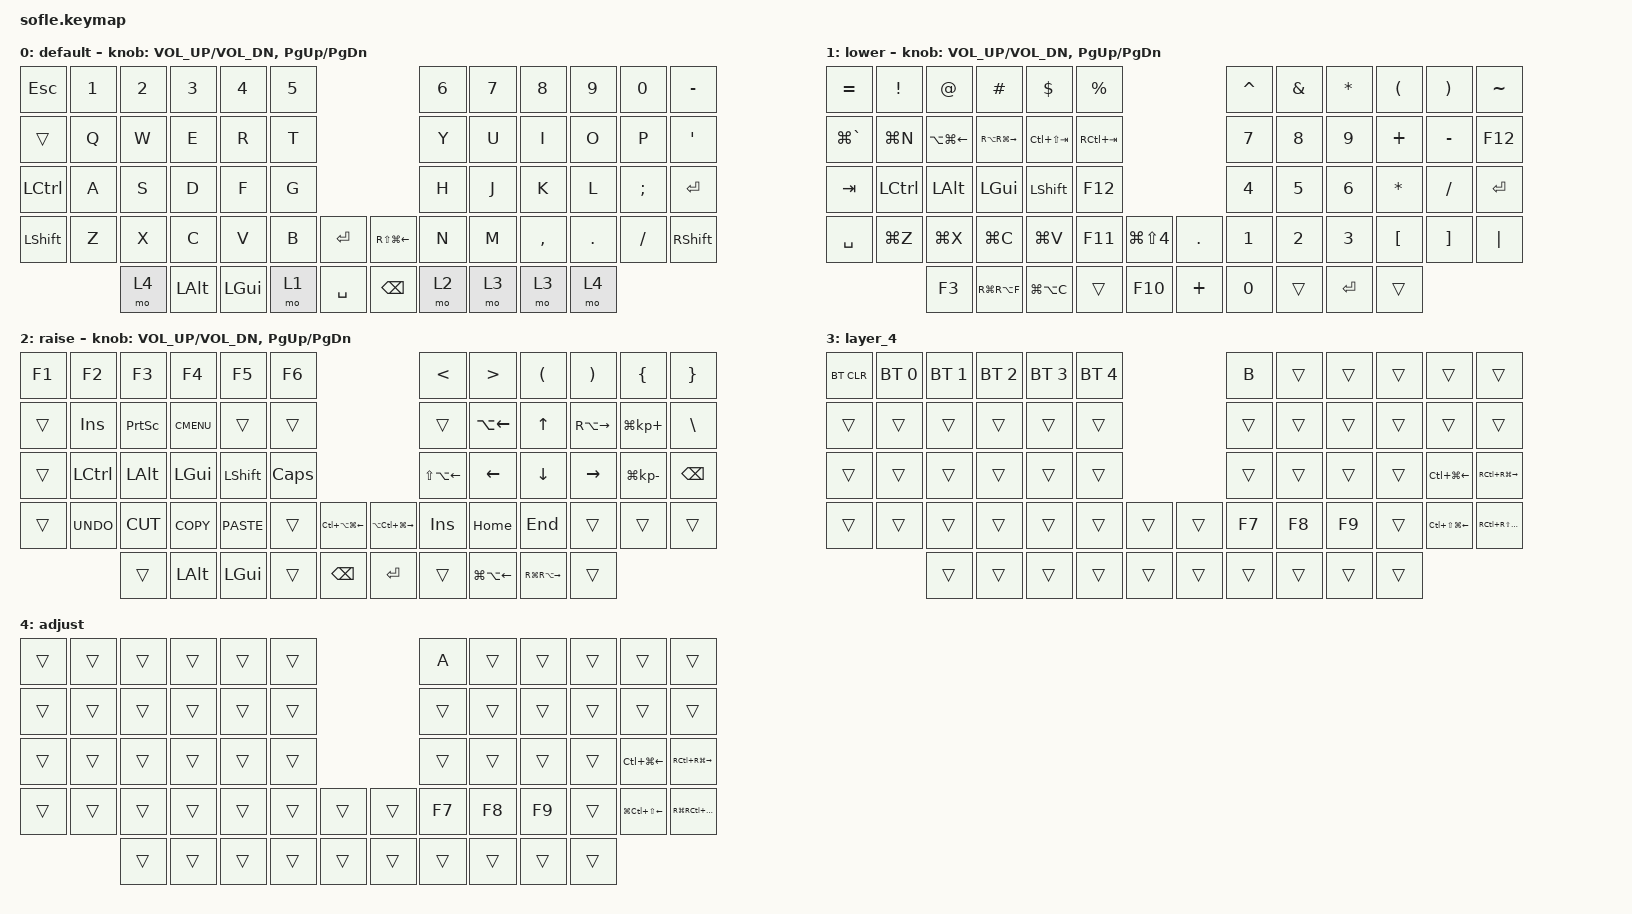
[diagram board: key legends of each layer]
/*
 * Copyright (c) 2020 The ZMK Contributors
 *
 * SPDX-License-Identifier: MIT
 */

#include <behaviors.dtsi>
#include <dt-bindings/zmk/bt.h>
#include <dt-bindings/zmk/keys.h>

#define BASE 0
#define LOWER 1
#define RAISE 2
#define ADJUST 3

/ {
    // Activate ADJUST layer by pressing raise and lower

    conditional_layers { compatible = "zmk,conditional-layers"; };

    combos {
        compatible = "zmk,combos";

        AltDelete {
            bindings = <&kp LA(BACKSPACE)>;
            key-positions = <31 32>;
        };

        tripleDelete {
            bindings = <&kp LG(BACKSPACE)>;
            key-positions = <31 32 33>;
        };

        webpageUndo {
            bindings = <&kp LS(LG(T))>;
            key-positions = <28 25>;
        };

        backspace-combo {
            bindings = <&kp BACKSPACE>;
            key-positions = <33 34>;
        };
    };

    keymap {
        compatible = "zmk,keymap";

        default_layer {
            display-name = "default";

            // ------------------------------------------------------------------------------------------------------------
            // |   `   |  1  |  2  |  3   |  4   |  5   |                   |  6   |  7    |  8    |  9   |   0   |       |
            // |  ESC  |  Q  |  W  |  E   |  R   |  T   |                   |  Y   |  U    |  I    |  O   |   P   | BKSPC |
            // |  TAB  |  A  |  S  |  D   |  F   |  G   |                   |  H   |  J    |  K    |  L   |   ;   |   '   |
            // | SHIFT |  Z  |  X  |  C   |  V   |  B   |  MUTE  |  |       |  N   |  M    |  ,    |  .   |   /   | SHIFT |
            //               | GUI | ALT  | CTRL | LOWER|  ENTER |  | SPACE | RAISE| CTRL  | ALT   | GUI  |

            bindings = <
&kp ESCAPE  &kp N1  &kp N2  &kp N3    &kp N4        &kp N5                                 &kp N6  &kp N7  &kp N8     &kp N9   &kp N0    &kp MINUS
&trans      &kp Q   &kp W   &kp E     &kp R         &kp T                                  &kp Y   &kp U   &kp I      &kp O    &kp P     &kp SQT
&kp LCTRL   &kp A   &kp S   &kp D     &kp F         &kp G                                  &kp H   &kp J   &kp K      &kp L    &kp SEMI  &kp ENTER
&kp LSHFT   &kp Z   &kp X   &kp C     &kp V         &kp B   &kp ENTER    &kp RS(LG(LEFT))  &kp N   &kp M   &kp COMMA  &kp DOT  &kp FSLH  &kp RSHFT
                    &mo 4   &kp LALT  &kp LEFT_GUI  &mo 1   &kp SPACE    &kp BACKSPACE     &mo 2   &mo 3   &mo 3      &mo 4
            >;

            sensor-bindings = <&inc_dec_kp C_VOL_UP C_VOL_DN &inc_dec_kp PG_UP PG_DN>;
        };

        lower_layer {
            display-name = "lower";

            // TODO: Some binds are waiting for shifted keycode support.
            // ------------------------------------------------------------------------------------------------------------
            // |       |  F1 |  F2 |  F3  |  F4  |  F5  |                   |  F6  |  F7   |  F8   |  F9  |  F10  |  F11  |
            // |   `   |  1  |  2  |  3   |  4   |  5   |                   |  6   |  7    |  8    |  9   |   0   |  F12  |
            // |       |  !  |  @  |  #   |  $   |  %   |                   |  ^   |  &    |  *    |  (   |   )   |   |   |
            // |       |  =  |  -  |  +   |  {   |  }   |        |  |       |  [   |  ]    |  ;    |  :   |   \   |       |
            //               |     |      |      |      |        |  |       |      |       |       |      |

            bindings = <
&kp EQUAL      &kp EXCL   &kp AT_SIGN       &kp HASH           &kp DOLLAR       &kp PERCENT                                    &kp CARET     &kp AMPS      &kp STAR      &kp LEFT_PARENTHESIS  &kp RIGHT_PARENTHESIS  &kp TILDE
&kp LG(GRAVE)  &kp LG(N)  &kp LA(LG(LEFT))  &kp RA(RG(RIGHT))  &kp LC(LS(TAB))  &kp RC(TAB)                                    &kp N7        &kp N8        &kp N9        &kp PLUS              &kp MINUS              &kp F12
&kp TAB        &kp LCTRL  &kp LEFT_ALT      &kp LEFT_GUI       &kp LEFT_SHIFT   &kp F12                                        &kp NUMBER_4  &kp N5        &kp NUMBER_6  &kp STAR              &kp SLASH              &kp ENTER
&kp SPACE      &kp LG(Z)  &kp LG(X)         &kp LG(C)          &kp LG(V)        &kp F11      &kp LG(LS(NUMBER_4))    &kp DOT   &kp NUMBER_1  &kp NUMBER_2  &kp NUMBER_3  &kp LEFT_BRACKET      &kp RIGHT_BRACKET      &kp PIPE
                          &kp F3            &kp RG(RA(F))      &kp LG(LA(C))    &trans       &kp F10                 &kp PLUS  &kp N0        &trans        &kp ENTER     &trans
            >;

            sensor-bindings = <&inc_dec_kp C_VOL_UP C_VOL_DN &inc_dec_kp PG_UP PG_DN>;
        };

        raise_layer {
            display-name = "raise";

            // ------------------------------------------------------------------------------------------------------------
            // | BTCLR | BT1  | BT2  |  BT3  |  BT4  |  BT5 |                |      |      |       |      |       |       |
            // |       | INS  | PSCR | GUI   |       |      |                | PGUP |      |   ^   |      |       |       |
            // |       | ALT  | CTRL | SHIFT |       | CAPS |                | PGDN |   <- |   v   |  ->  |  DEL  | BKSPC |
            // |       | UNDO | CUT  | COPY  | PASTE |      |      |  |      |      |      |       |      |       |       |
            //                |      |       |       |      |      |  |      |      |      |       |      |

            bindings = <
&kp F1  &kp F2      &kp F3        &kp F4        &kp F5          &kp F6                                                   &kp LESS_THAN     &kp GREATER_THAN  &kp LEFT_PARENTHESIS  &kp RIGHT_PARENTHESIS  &kp LEFT_BRACE    &kp RIGHT_BRACE
&trans  &kp INS     &kp PSCRN     &kp K_CMENU   &trans          &trans                                                   &trans            &kp LA(LEFT)      &kp UP                &kp RA(RIGHT)          &kp LG(KP_PLUS)   &kp BACKSLASH
&trans  &kp LCTRL   &kp LEFT_ALT  &kp LEFT_GUI  &kp LEFT_SHIFT  &kp CLCK                                                 &kp LS(LA(LEFT))  &kp LEFT          &kp DOWN              &kp RIGHT              &kp LG(KP_MINUS)  &kp BSPC
&trans  &kp K_UNDO  &kp K_CUT     &kp K_COPY    &kp K_PASTE     &trans    &kp LC(LA(LG(LEFT)))    &kp LA(LC(LG(RIGHT)))  &kp INS           &kp HOME          &kp END               &trans                 &trans            &trans
                    &trans        &kp LEFT_ALT  &kp LEFT_GUI    &trans    &kp BACKSPACE           &kp ENTER              &trans            &kp LG(LA(LEFT))  &kp RG(RA(RIGHT))     &trans
            >;

            sensor-bindings = <&inc_dec_kp C_VOL_UP C_VOL_DN &inc_dec_kp PG_UP PG_DN>;
        };

        layer_4 {
            bindings = <
&bt BT_CLR  &bt BT_SEL 0  &bt BT_SEL 1  &bt BT_SEL 2  &bt BT_SEL 3  &bt BT_SEL 4                    &kp B   &trans  &trans  &trans  &trans                      &trans
&trans      &trans        &trans        &trans        &trans        &trans                          &trans  &trans  &trans  &trans  &trans                      &trans
&trans      &trans        &trans        &trans        &trans        &trans                          &trans  &trans  &trans  &trans  &kp LC(LG(LEFT))            &kp RC(RG(RIGHT))
&trans      &trans        &trans        &trans        &trans        &trans        &trans    &trans  &kp F7  &kp F8  &kp F9  &trans  &kp LC(LS(LG(LEFT_ARROW)))  &kp RC(RS(RG(RIGHT)))
                          &trans        &trans        &trans        &trans        &trans    &trans  &trans  &trans  &trans  &trans
            >;
        };

        layer_5 {
            display-name = "adjust";
            bindings = <
&trans  &trans  &trans  &trans  &trans  &trans                    &kp A   &trans  &trans  &trans  &trans                      &trans
&trans  &trans  &trans  &trans  &trans  &trans                    &trans  &trans  &trans  &trans  &trans                      &trans
&trans  &trans  &trans  &trans  &trans  &trans                    &trans  &trans  &trans  &trans  &kp LC(LG(LEFT))            &kp RC(RG(RIGHT))
&trans  &trans  &trans  &trans  &trans  &trans  &trans    &trans  &kp F7  &kp F8  &kp F9  &trans  &kp LG(LC(LS(LEFT_ARROW)))  &kp RG(RC(RS(RIGHT)))
                &trans  &trans  &trans  &trans  &trans    &trans  &trans  &trans  &trans  &trans
            >;
        };
    };
};
